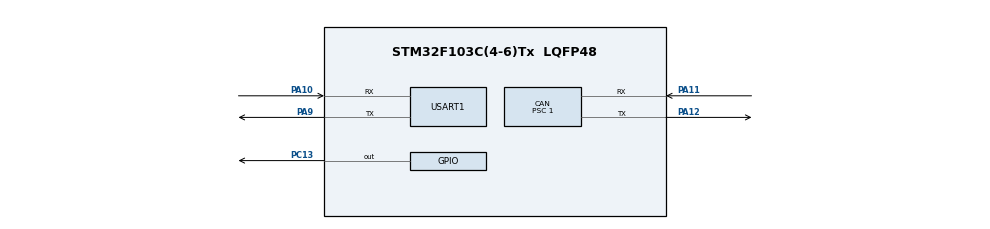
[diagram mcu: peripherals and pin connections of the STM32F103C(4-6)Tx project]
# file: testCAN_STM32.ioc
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CAN.BS1=CAN_BS1_12TQ
CAN.BS2=CAN_BS2_3TQ
CAN.CalculateBaudRate=500000
CAN.CalculateTimeBit=2000
CAN.CalculateTimeQuantum=125.0
CAN.Prescaler=1
CAN.SJW=CAN_SJW_1TQ
Mcu.Family=STM32F1
Mcu.Name=STM32F103C(4-6)Tx
Mcu.Package=LQFP48
NVIC.PriorityGroup=NVIC_PRIORITYGROUP_4
NVIC.USB_LP_CAN1_RX0_IRQn=true\:0\:0\:false\:false\:true\:true\:true\:true
PA10.Mode=Asynchronous
PA10.Signal=USART1_RX
PA11.Mode=CAN_Activate
PA11.Signal=CAN_RX
PA12.Mode=CAN_Activate
PA12.Signal=CAN_TX
PA13.Mode=Serial_Wire
PA13.Signal=SYS_JTMS-SWDIO
PA14.Mode=Serial_Wire
PA14.Signal=SYS_JTCK-SWCLK
PA9.Mode=Asynchronous
PA9.Signal=USART1_TX
PC13-TAMPER-RTC.PinState=GPIO_PIN_SET
PC13-TAMPER-RTC.Signal=GPIO_Output
ProjectManager.HeapSize=0x200
ProjectManager.StackSize=0x400
ProjectManager.TargetToolchain=STM32CubeIDE
RCC.APB1Freq_Value=8000000
RCC.APB2Freq_Value=8000000
USART1.VirtualMode=VM_ASYNC
board=custom

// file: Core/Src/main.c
/* USER CODE BEGIN Header */
/**
  ******************************************************************************
  * @file           : main.c
  * @brief          : Main program body
  ******************************************************************************
  * @attention
  *
  * Copyright (c) 2026 STMicroelectronics.
  * All rights reserved.
  *
  * This software is licensed under terms that can be found in the LICENSE file
  * in the root directory of this software component.
  * If no LICENSE file comes with this software, it is provided AS-IS.
  *
  ******************************************************************************
  */
/* USER CODE END Header */
#include "main.h"

/* USER CODE BEGIN Includes */
#include <stdio.h>
#include <string.h>
/* USER CODE END Includes */

CAN_HandleTypeDef hcan;

UART_HandleTypeDef huart1;

/* USER CODE BEGIN PV */
CAN_RxHeaderTypeDef rxHeader;
uint8_t rxData[8];
/* USER CODE END PV */

void SystemClock_Config(void);
static void MX_GPIO_Init(void);
static void MX_CAN_Init(void);
static void MX_USART1_UART_Init(void);

int main(void)
{

  /* MCU Configuration--------------------------------------------------------*/

  /* Reset of all peripherals, Initializes the Flash interface and the Systick. */
  HAL_Init();

  /* Configure the system clock */
  SystemClock_Config();

  /* Initialize all configured peripherals */
  MX_GPIO_Init();
  MX_CAN_Init();
  MX_USART1_UART_Init();
  /* USER CODE BEGIN 2 */
    CAN_FilterTypeDef canFilterConfig;

    // Cấu hình Filter cho phép nhận TẤT CẢ các ID (Pass-all)
    canFilterConfig.FilterActivation = CAN_FILTER_ENABLE;
    canFilterConfig.FilterBank = 0;
    canFilterConfig.FilterMode = CAN_FILTERMODE_IDMASK;
    canFilterConfig.FilterScale = CAN_FILTERSCALE_32BIT;
    canFilterConfig.FilterIdHigh = 0x0000;
    canFilterConfig.FilterIdLow = 0x0000;
    canFilterConfig.FilterMaskIdHigh = 0x0000;
    canFilterConfig.FilterMaskIdLow = 0x0000;
    canFilterConfig.FilterFIFOAssignment = CAN_RX_FIFO0;

    // Áp dụng Filter
    HAL_CAN_ConfigFilter(&hcan, &canFilterConfig);

    // Khởi động CAN
    HAL_CAN_Start(&hcan);

    // Kích hoạt ngắt nhận data (khi có tín hiệu vào FIFO0)
    HAL_CAN_ActivateNotification(&hcan, CAN_IT_RX_FIFO0_MSG_PENDING);
  /* USER CODE END 2 */

  /* Infinite loop */
  while (1)
  {

  }
}

void SystemClock_Config(void)
{
  RCC_OscInitTypeDef RCC_OscInitStruct = {0};
  RCC_ClkInitTypeDef RCC_ClkInitStruct = {0};

  /** Initializes the RCC Oscillators according to the specified parameters
  * in the RCC_OscInitTypeDef structure.
  */
  RCC_OscInitStruct.OscillatorType = RCC_OSCILLATORTYPE_HSI;
  RCC_OscInitStruct.HSIState = RCC_HSI_ON;
  RCC_OscInitStruct.HSICalibrationValue = RCC_HSICALIBRATION_DEFAULT;
  RCC_OscInitStruct.PLL.PLLState = RCC_PLL_NONE;
  if (HAL_RCC_OscConfig(&RCC_OscInitStruct) != HAL_OK)
  {
    Error_Handler();
  }

  /** Initializes the CPU, AHB and APB buses clocks
  */
  RCC_ClkInitStruct.ClockType = RCC_CLOCKTYPE_HCLK|RCC_CLOCKTYPE_SYSCLK
                              |RCC_CLOCKTYPE_PCLK1|RCC_CLOCKTYPE_PCLK2;
  RCC_ClkInitStruct.SYSCLKSource = RCC_SYSCLKSOURCE_HSI;
  RCC_ClkInitStruct.AHBCLKDivider = RCC_SYSCLK_DIV1;
  RCC_ClkInitStruct.APB1CLKDivider = RCC_HCLK_DIV1;
  RCC_ClkInitStruct.APB2CLKDivider = RCC_HCLK_DIV1;

  if (HAL_RCC_ClockConfig(&RCC_ClkInitStruct, FLASH_LATENCY_0) != HAL_OK)
  {
    Error_Handler();
  }
}

static void MX_CAN_Init(void)
{

  hcan.Instance = CAN1;
  hcan.Init.Prescaler = 1;
  hcan.Init.Mode = CAN_MODE_NORMAL;
  hcan.Init.SyncJumpWidth = CAN_SJW_1TQ;
  hcan.Init.TimeSeg1 = CAN_BS1_12TQ;
  hcan.Init.TimeSeg2 = CAN_BS2_3TQ;
  hcan.Init.TimeTriggeredMode = DISABLE;
  hcan.Init.AutoBusOff = DISABLE;
  hcan.Init.AutoWakeUp = DISABLE;
  hcan.Init.AutoRetransmission = DISABLE;
  hcan.Init.ReceiveFifoLocked = DISABLE;
  hcan.Init.TransmitFifoPriority = DISABLE;
  if (HAL_CAN_Init(&hcan) != HAL_OK)
  {
    Error_Handler();
  }

}

static void MX_USART1_UART_Init(void)
{

  huart1.Instance = USART1;
  huart1.Init.BaudRate = 115200;
  huart1.Init.WordLength = UART_WORDLENGTH_8B;
  huart1.Init.StopBits = UART_STOPBITS_1;
  huart1.Init.Parity = UART_PARITY_NONE;
  huart1.Init.Mode = UART_MODE_TX_RX;
  huart1.Init.HwFlowCtl = UART_HWCONTROL_NONE;
  huart1.Init.OverSampling = UART_OVERSAMPLING_16;
  if (HAL_UART_Init(&huart1) != HAL_OK)
  {
    Error_Handler();
  }

}

static void MX_GPIO_Init(void)
{
  GPIO_InitTypeDef GPIO_InitStruct = {0};

  /* GPIO Ports Clock Enable */
  __HAL_RCC_GPIOC_CLK_ENABLE();
  __HAL_RCC_GPIOA_CLK_ENABLE();

  /*Configure GPIO pin Output Level */
  HAL_GPIO_WritePin(GPIOC, GPIO_PIN_13, GPIO_PIN_SET);

  /*Configure GPIO pin : PC13 */
  GPIO_InitStruct.Pin = GPIO_PIN_13;
  GPIO_InitStruct.Mode = GPIO_MODE_OUTPUT_PP;
  GPIO_InitStruct.Pull = GPIO_NOPULL;
  GPIO_InitStruct.Speed = GPIO_SPEED_FREQ_LOW;
  HAL_GPIO_Init(GPIOC, &GPIO_InitStruct);

}

/* USER CODE BEGIN 4 */
void HAL_CAN_RxFifo0MsgPendingCallback(CAN_HandleTypeDef *hcan)
{
    // 1. Nhận bản tin CAN từ bộ đệm FIFO0
    if (HAL_CAN_GetRxMessage(hcan, CAN_RX_FIFO0, &rxHeader, rxData) == HAL_OK)
    {
        // 2. Kiểm tra ID 0x123 (Có thể bỏ IF để nhận tất cả bản tin)
        if (rxHeader.StdId == 0x123)
        {
            char msg[100];
            // Format chuỗi: Hiện ID và 8 byte dữ liệu
            int len = sprintf(msg, "\r\n[CAN] ID: 0x%X | Data: %02X %02X %02X %02X %02X %02X %02X %02X",
                             (unsigned int)rxHeader.StdId,
                             rxData[0], rxData[1], rxData[2], rxData[3],
                             rxData[4], rxData[5], rxData[6], rxData[7]);

            // 3. Đẩy chuỗi lên Putty thông qua UART1
            HAL_UART_Transmit(&huart1, (uint8_t*)msg, len, 100);

            // 4. Đảo trạng thái LED PC13 để báo hiệu nhận thành công
            HAL_GPIO_TogglePin(GPIOC, GPIO_PIN_13);
        }
    }
}
/* USER CODE END 4 */

void Error_Handler(void)
{
  __disable_irq();
  while (1)
  {
  }
}
